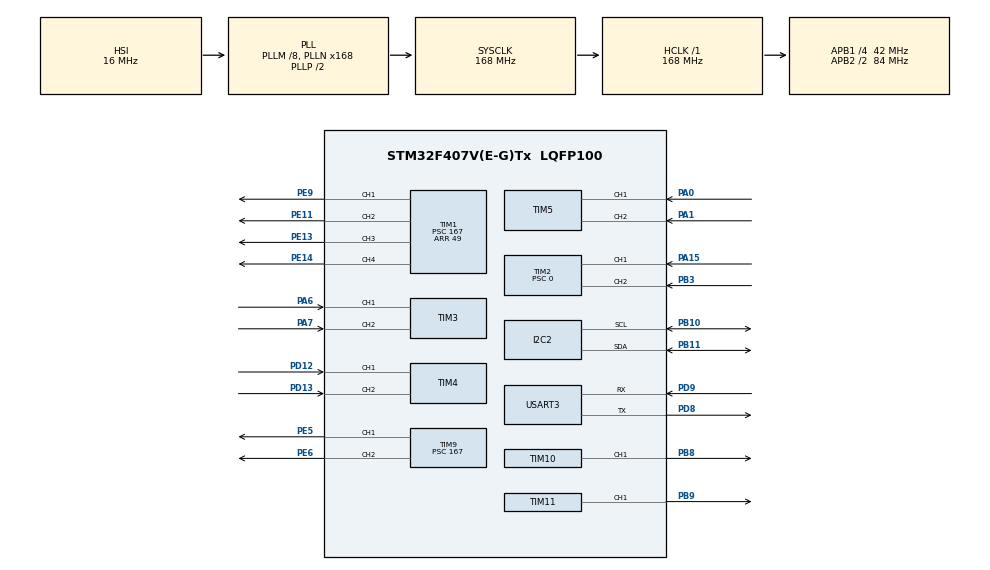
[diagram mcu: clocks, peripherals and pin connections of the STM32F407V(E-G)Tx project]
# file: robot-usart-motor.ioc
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Dma.Request0=USART3_RX
Dma.Request1=USART3_TX
Dma.USART3_RX.0.Direction=DMA_PERIPH_TO_MEMORY
Dma.USART3_RX.0.FIFOMode=DMA_FIFOMODE_DISABLE
Dma.USART3_RX.0.Instance=DMA1_Stream1
Dma.USART3_RX.0.MemDataAlignment=DMA_MDATAALIGN_BYTE
Dma.USART3_RX.0.MemInc=DMA_MINC_ENABLE
Dma.USART3_RX.0.Mode=DMA_CIRCULAR
Dma.USART3_RX.0.PeriphDataAlignment=DMA_PDATAALIGN_BYTE
Dma.USART3_RX.0.PeriphInc=DMA_PINC_DISABLE
Dma.USART3_RX.0.Priority=DMA_PRIORITY_LOW
Dma.USART3_TX.1.Direction=DMA_MEMORY_TO_PERIPH
Dma.USART3_TX.1.FIFOMode=DMA_FIFOMODE_DISABLE
Dma.USART3_TX.1.Instance=DMA1_Stream3
Dma.USART3_TX.1.MemDataAlignment=DMA_MDATAALIGN_BYTE
Dma.USART3_TX.1.MemInc=DMA_MINC_ENABLE
Dma.USART3_TX.1.Mode=DMA_NORMAL
Dma.USART3_TX.1.PeriphDataAlignment=DMA_PDATAALIGN_BYTE
Dma.USART3_TX.1.PeriphInc=DMA_PINC_DISABLE
Dma.USART3_TX.1.Priority=DMA_PRIORITY_LOW
FREERTOS.BinarySemaphores01=UartTxDoneSemaphore,Dynamic,NULL,Available
FREERTOS.Queues01=UartTxQueue,10,uint16_t,0,Dynamic,NULL,NULL
FREERTOS.Tasks01=defaultTask,24,128,StartDefaultTask,Default,NULL,Dynamic,NULL,NULL;UartRxTask,24,256,StartUartRxTask,As external,NULL,Dynamic,NULL,NULL;UartTxTask,24,128,StartUartTxTask,As external,NULL,Dynamic,NULL,NULL;MPU6050Task,24,128,StartMPU6050Task,As external,NULL,Dynamic,NULL,NULL;MotorTask,24,128,StartMotorTask,As external,NULL,Dynamic,NULL,NULL
Mcu.Family=STM32F4
Mcu.Name=STM32F407V(E-G)Tx
Mcu.Package=LQFP100
NVIC.DMA1_Stream1_IRQn=true\:5\:0\:false\:false\:true\:true\:false\:true\:true
NVIC.DMA1_Stream3_IRQn=true\:5\:0\:false\:false\:true\:true\:false\:true\:true
NVIC.PriorityGroup=NVIC_PRIORITYGROUP_4
NVIC.TIM2_IRQn=true\:5\:0\:false\:false\:true\:true\:true\:true\:true
NVIC.TIM6_DAC_IRQn=true\:5\:0\:false\:false\:true\:true\:true\:true\:true
NVIC.TIM8_TRG_COM_TIM14_IRQn=true\:15\:0\:false\:false\:true\:false\:false\:true\:true
NVIC.TimeBase=TIM8_TRG_COM_TIM14_IRQn
NVIC.TimeBaseIP=TIM14
NVIC.USART3_IRQn=true\:5\:0\:false\:false\:true\:true\:true\:true\:true
PA0-WKUP.Signal=S_TIM5_CH1
PA1.Signal=S_TIM5_CH2
PA13.Mode=Serial_Wire
PA13.Signal=SYS_JTMS-SWDIO
PA14.Mode=Serial_Wire
PA14.Signal=SYS_JTCK-SWCLK
PA15.Signal=S_TIM2_CH1_ETR
PA6.Signal=S_TIM3_CH1
PA7.Signal=S_TIM3_CH2
PB10.Mode=I2C
PB10.Signal=I2C2_SCL
PB11.Mode=I2C
PB11.Signal=I2C2_SDA
PB3.Signal=S_TIM2_CH2
PB8.Signal=S_TIM10_CH1
PB9.Signal=S_TIM11_CH1
PD12.Signal=S_TIM4_CH1
PD13.Signal=S_TIM4_CH2
PD8.Mode=Asynchronous
PD8.Signal=USART3_TX
PD9.Mode=Asynchronous
PD9.Signal=USART3_RX
PE11.Signal=S_TIM1_CH2
PE13.Signal=S_TIM1_CH3
PE14.Signal=S_TIM1_CH4
PE5.Signal=S_TIM9_CH1
PE6.Signal=S_TIM9_CH2
PE9.Signal=S_TIM1_CH1
PH0-OSC_IN.Mode=HSE-External-Oscillator
PH0-OSC_IN.Signal=RCC_OSC_IN
PH1-OSC_OUT.Mode=HSE-External-Oscillator
PH1-OSC_OUT.Signal=RCC_OSC_OUT
ProjectManager.HeapSize=0x200
ProjectManager.StackSize=0x400
ProjectManager.TargetToolchain=Makefile
RCC.48MHZClocksFreq_Value=84000000
RCC.AHBFreq_Value=168000000
RCC.APB1CLKDivider=RCC_HCLK_DIV4
RCC.APB1Freq_Value=42000000
RCC.APB1TimFreq_Value=84000000
RCC.APB2CLKDivider=RCC_HCLK_DIV2
RCC.APB2Freq_Value=84000000
RCC.APB2TimFreq_Value=168000000
RCC.CortexFreq_Value=168000000
RCC.HCLKFreq_Value=168000000
RCC.HSE_VALUE=25000000
RCC.HSI_VALUE=16000000
RCC.LSE_VALUE=32768
RCC.PLLM=8
RCC.PLLN=168
RCC.SYSCLKFreq_VALUE=168000000
RCC.SYSCLKSource=RCC_SYSCLKSOURCE_PLLCLK
RCC.VCOOutputFreq_Value=336000000
SH.S_TIM10_CH1.0=TIM10_CH1,PWM Generation1 CH1
SH.S_TIM11_CH1.0=TIM11_CH1,PWM Generation1 CH1
SH.S_TIM1_CH1.0=TIM1_CH1,PWM Generation1 CH1
SH.S_TIM1_CH2.0=TIM1_CH2,PWM Generation2 CH2
SH.S_TIM1_CH3.0=TIM1_CH3,PWM Generation3 CH3
SH.S_TIM1_CH4.0=TIM1_CH4,PWM Generation4 CH4
SH.S_TIM2_CH1_ETR.0=TIM2_CH1,Encoder_Interface
SH.S_TIM2_CH2.0=TIM2_CH2,Encoder_Interface
SH.S_TIM3_CH1.0=TIM3_CH1,Encoder_Interface
SH.S_TIM3_CH2.0=TIM3_CH2,Encoder_Interface
SH.S_TIM4_CH1.0=TIM4_CH1,Encoder_Interface
SH.S_TIM4_CH2.0=TIM4_CH2,Encoder_Interface
SH.S_TIM5_CH1.0=TIM5_CH1,Encoder_Interface
SH.S_TIM5_CH2.0=TIM5_CH2,Encoder_Interface
SH.S_TIM9_CH1.0=TIM9_CH1,PWM Generation1 CH1
SH.S_TIM9_CH2.0=TIM9_CH2,PWM Generation2 CH2
TIM1.Channel-PWM\ Generation1\ CH1=TIM_CHANNEL_1
TIM1.Channel-PWM\ Generation2\ CH2=TIM_CHANNEL_2
TIM1.Channel-PWM\ Generation3\ CH3=TIM_CHANNEL_3
TIM1.Channel-PWM\ Generation4\ CH4=TIM_CHANNEL_4
TIM1.OCPolarity_1=TIM_OCPOLARITY_LOW
TIM1.OCPolarity_2=TIM_OCPOLARITY_LOW
TIM1.OCPolarity_3=TIM_OCPOLARITY_LOW
TIM1.OCPolarity_4=TIM_OCPOLARITY_LOW
TIM1.Period=49
TIM1.Prescaler=167
TIM10.Channel=TIM_CHANNEL_1
TIM10.OCPolarity_1=TIM_OCPOLARITY_LOW
TIM10.Period=49
TIM10.Prescaler=167
TIM11.Channel=TIM_CHANNEL_1
TIM11.OCPolarity_1=TIM_OCPOLARITY_LOW
TIM11.Period=49
TIM11.Prescaler=167
TIM2.EncoderMode=TIM_ENCODERMODE_TI12
TIM2.Period=65535
TIM2.Prescaler=0
TIM6.AutoReloadPreload=TIM_AUTORELOAD_PRELOAD_DISABLE
TIM6.Period=99
TIM6.Prescaler=16799
TIM9.Channel-PWM\ Generation1\ CH1=TIM_CHANNEL_1
TIM9.Channel-PWM\ Generation2\ CH2=TIM_CHANNEL_2
TIM9.OCPolarity_1=TIM_OCPOLARITY_LOW
TIM9.OCPolarity_2=TIM_OCPOLARITY_LOW
TIM9.Period=49
TIM9.Prescaler=167
USART3.VirtualMode=VM_ASYNC
VP_FREERTOS_VS_CMSIS_V2.Mode=CMSIS_V2
VP_SYS_VS_tim14.Mode=TIM14
VP_TIM10_VS_ClockSourceINT.Mode=Enable_Timer
VP_TIM11_VS_ClockSourceINT.Mode=Enable_Timer
VP_TIM6_VS_ClockSourceINT.Mode=Enable_Timer
board=custom

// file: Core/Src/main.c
/* USER CODE BEGIN Header */
/**
  ******************************************************************************
  * @file           : main.c
  * @brief          : Main program body
  ******************************************************************************
  * @attention
  *
  * Copyright (c) 2025 STMicroelectronics.
  * All rights reserved.
  *
  * This software is licensed under terms that can be found in the LICENSE file
  * in the root directory of this software component.
  * If no LICENSE file comes with this software, it is provided AS-IS.
  *
  ******************************************************************************
  */
/* USER CODE END Header */
#include "main.h"
#include "cmsis_os.h"
#include "dma.h"
#include "i2c.h"
#include "tim.h"
#include "usart.h"
#include "gpio.h"

/* USER CODE BEGIN Includes */
#include "encodermotor.h"  // Adjusted path to locate the header file
#include "stdio.h"
/* USER CODE END Includes */

/* USER CODE BEGIN PD */
int _write(int file, char *data, int len)
{
    HAL_UART_Transmit(&huart3, (uint8_t*)data, len, HAL_MAX_DELAY);
    return len;
}
/* USER CODE END PD */

void SystemClock_Config(void);
void MX_FREERTOS_Init(void);

int main(void)
{

  /* MCU Configuration--------------------------------------------------------*/

  /* Reset of all peripherals, Initializes the Flash interface and the Systick. */
  HAL_Init();

  /* Configure the system clock */
  SystemClock_Config();

  /* Initialize all configured peripherals */
  MX_GPIO_Init();
  MX_DMA_Init();
  MX_TIM2_Init();
  MX_TIM10_Init();
  MX_TIM11_Init();
  MX_USART3_UART_Init();
  MX_TIM6_Init();
  MX_TIM1_Init();
  MX_TIM9_Init();
  MX_TIM3_Init();
  MX_TIM4_Init();
  MX_TIM5_Init();
  MX_I2C2_Init();
  /* USER CODE BEGIN 2 */
  Motor_Init(&Motor_A);
  Motor_Encoder_Init(&Motor_A);
  Motor_Init(&Motor_B);
  Motor_Encoder_Init(&Motor_B);
  Motor_Init(&Motor_C);
  Motor_Encoder_Init(&Motor_C);
  Motor_Init(&Motor_D);
  Motor_Encoder_Init(&Motor_D);

  /* USER CODE END 2 */

  /* Init scheduler */
  osKernelInitialize();  /* Call init function for freertos objects (in cmsis_os2.c) */
  MX_FREERTOS_Init();

  /* Start scheduler */
  osKernelStart();

  /* We should never get here as control is now taken by the scheduler */

  /* Infinite loop */
  /* USER CODE BEGIN WHILE */
  while (1)
  {

  /*正反转测试*/
  //  Motor_SetPWM(&Motor_A, 100);
  //  HAL_Delay(2000);
  //  Motor_SetPWM(&Motor_A, -10);
  //  HAL_Delay(2000);

  /*编码器数值读取测试*/

  // int curr_cnt = __HAL_TIM_GET_COUNTER(&htim2);  // 假设你用的是 TIM3
  //    if (curr_cnt != last_cnt) {
  //        printf("CNT = %d\r\n", curr_cnt);
  //        last_cnt = curr_cnt;
  //    }
  /*串口测试和重定向串口测试*/
    // printf("hello world\r\n");
    // HAL_UART_Transmit(&huart3, (uint8_t *)"Hello World\r\n", strlen("Hello World\r\n"), HAL_MAX_DELAY);

    /*编码器电机的pid速度测试*/

    // 设置目标速度

    // 调用 PID 控制
    // Motor_PID_Control(&Motor_A);

    // 延时，模拟采样时间
    //HAL_Delay(100);  // 采样时间与 SAMPLE_TIME_S 对应

    /* USER CODE END WHILE */

  }
}

void SystemClock_Config(void)
{
  RCC_OscInitTypeDef RCC_OscInitStruct = {0};
  RCC_ClkInitTypeDef RCC_ClkInitStruct = {0};

  /** Configure the main internal regulator output voltage
  */
  __HAL_RCC_PWR_CLK_ENABLE();
  __HAL_PWR_VOLTAGESCALING_CONFIG(PWR_REGULATOR_VOLTAGE_SCALE1);

  /** Initializes the RCC Oscillators according to the specified parameters
  * in the RCC_OscInitTypeDef structure.
  */
  RCC_OscInitStruct.OscillatorType = RCC_OSCILLATORTYPE_HSI;
  RCC_OscInitStruct.HSIState = RCC_HSI_ON;
  RCC_OscInitStruct.HSICalibrationValue = RCC_HSICALIBRATION_DEFAULT;
  RCC_OscInitStruct.PLL.PLLState = RCC_PLL_ON;
  RCC_OscInitStruct.PLL.PLLSource = RCC_PLLSOURCE_HSI;
  RCC_OscInitStruct.PLL.PLLM = 8;
  RCC_OscInitStruct.PLL.PLLN = 168;
  RCC_OscInitStruct.PLL.PLLP = RCC_PLLP_DIV2;
  RCC_OscInitStruct.PLL.PLLQ = 4;
  if (HAL_RCC_OscConfig(&RCC_OscInitStruct) != HAL_OK)
  {
    Error_Handler();
  }

  /** Initializes the CPU, AHB and APB buses clocks
  */
  RCC_ClkInitStruct.ClockType = RCC_CLOCKTYPE_HCLK|RCC_CLOCKTYPE_SYSCLK
                              |RCC_CLOCKTYPE_PCLK1|RCC_CLOCKTYPE_PCLK2;
  RCC_ClkInitStruct.SYSCLKSource = RCC_SYSCLKSOURCE_PLLCLK;
  RCC_ClkInitStruct.AHBCLKDivider = RCC_SYSCLK_DIV1;
  RCC_ClkInitStruct.APB1CLKDivider = RCC_HCLK_DIV4;
  RCC_ClkInitStruct.APB2CLKDivider = RCC_HCLK_DIV2;

  if (HAL_RCC_ClockConfig(&RCC_ClkInitStruct, FLASH_LATENCY_5) != HAL_OK)
  {
    Error_Handler();
  }
}

void HAL_TIM_PeriodElapsedCallback(TIM_HandleTypeDef *htim)
{
  if (htim->Instance == TIM14)
  {
    HAL_IncTick();
  }
}

void Error_Handler(void)
{
  __disable_irq();
  while (1)
  {
  }
}

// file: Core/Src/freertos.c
/* USER CODE BEGIN Header */
/**
  ******************************************************************************
  * File Name          : freertos.c
  * Description        : Code for freertos applications
  ******************************************************************************
  * @attention
  *
  * Copyright (c) 2025 STMicroelectronics.
  * All rights reserved.
  *
  * This software is licensed under terms that can be found in the LICENSE file
  * in the root directory of this software component.
  * If no LICENSE file comes with this software, it is provided AS-IS.
  *
  ******************************************************************************
  */
/* USER CODE END Header */

#include "FreeRTOS.h"
#include "task.h"
#include "main.h"
#include "cmsis_os.h"

/* USER CODE BEGIN Includes */
#include "encodermotor.h"
#include "stdio.h"
/* USER CODE END Includes */

/* Definitions for defaultTask */
osThreadId_t defaultTaskHandle;
const osThreadAttr_t defaultTask_attributes = {
  .name = "defaultTask",
  .stack_size = 128 * 4,
  .priority = (osPriority_t) osPriorityNormal,
};
/* Definitions for UartRxTask */
osThreadId_t UartRxTaskHandle;
const osThreadAttr_t UartRxTask_attributes = {
  .name = "UartRxTask",
  .stack_size = 256 * 4,
  .priority = (osPriority_t) osPriorityNormal,
};
/* Definitions for UartTxTask */
osThreadId_t UartTxTaskHandle;
const osThreadAttr_t UartTxTask_attributes = {
  .name = "UartTxTask",
  .stack_size = 128 * 4,
  .priority = (osPriority_t) osPriorityNormal,
};
/* Definitions for MPU6050Task */
osThreadId_t MPU6050TaskHandle;
const osThreadAttr_t MPU6050Task_attributes = {
  .name = "MPU6050Task",
  .stack_size = 128 * 4,
  .priority = (osPriority_t) osPriorityNormal,
};
/* Definitions for MotorTask */
osThreadId_t MotorTaskHandle;
const osThreadAttr_t MotorTask_attributes = {
  .name = "MotorTask",
  .stack_size = 128 * 4,
  .priority = (osPriority_t) osPriorityNormal,
};
/* Definitions for UartTxQueue */
osMessageQueueId_t UartTxQueueHandle;
const osMessageQueueAttr_t UartTxQueue_attributes = {
  .name = "UartTxQueue"
};
/* Definitions for UartTxDoneSemaphore */
osSemaphoreId_t UartTxDoneSemaphoreHandle;
const osSemaphoreAttr_t UartTxDoneSemaphore_attributes = {
  .name = "UartTxDoneSemaphore"
};

void StartDefaultTask(void *argument);
extern void StartUartRxTask(void *argument);
extern void StartUartTxTask(void *argument);
extern void StartMPU6050Task(void *argument);
extern void StartMotorTask(void *argument);

void MX_FREERTOS_Init(void); /* (MISRA C 2004 rule 8.1) */

void MX_FREERTOS_Init(void) {

  /* Create the semaphores(s) */
  /* creation of UartTxDoneSemaphore */
  UartTxDoneSemaphoreHandle = osSemaphoreNew(1, 1, &UartTxDoneSemaphore_attributes);

  /* Create the queue(s) */
  /* creation of UartTxQueue */
  UartTxQueueHandle = osMessageQueueNew (10, sizeof(uint16_t), &UartTxQueue_attributes);

  /* Create the thread(s) */
  /* creation of defaultTask */
  defaultTaskHandle = osThreadNew(StartDefaultTask, NULL, &defaultTask_attributes);

  /* creation of UartRxTask */
  UartRxTaskHandle = osThreadNew(StartUartRxTask, NULL, &UartRxTask_attributes);

  /* creation of UartTxTask */
  UartTxTaskHandle = osThreadNew(StartUartTxTask, NULL, &UartTxTask_attributes);

  /* creation of MPU6050Task */
  MPU6050TaskHandle = osThreadNew(StartMPU6050Task, NULL, &MPU6050Task_attributes);

  /* creation of MotorTask */
  MotorTaskHandle = osThreadNew(StartMotorTask, NULL, &MotorTask_attributes);

}

void StartDefaultTask(void *argument)
{
  /* USER CODE BEGIN StartDefaultTask */
  /* Infinite loop */
  for(;;)
  {
     /*正反转测试*/

  //  Motor_SetPWM(&Motor_A, 100);
  //  Motor_SetPWM(&Motor_B, 100);
  //  Motor_SetPWM(&Motor_C, 100);
  //  Motor_SetPWM(&Motor_D, 100);
  //  HAL_Delay(2000);
  //  Motor_SetPWM(&Motor_A, -100);
  //  Motor_SetPWM(&Motor_B, -100);
  //  Motor_SetPWM(&Motor_C, -100);
  //  Motor_SetPWM(&Motor_D, -100);

  //  HAL_Delay(2000);

    osDelay(1);
  }
  /* USER CODE END StartDefaultTask */
}
